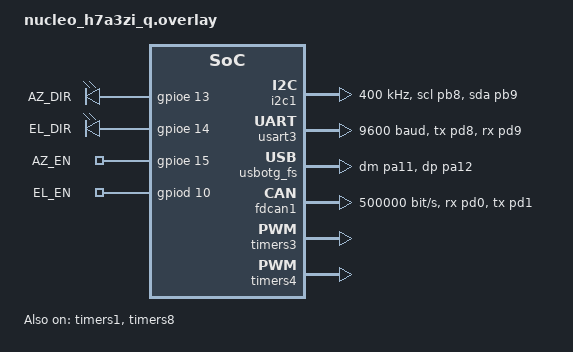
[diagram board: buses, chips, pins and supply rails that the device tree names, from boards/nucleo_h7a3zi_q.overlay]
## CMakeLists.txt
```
cmake_minimum_required(VERSION 3.20.0)

find_package(Zephyr REQUIRED HINTS $ENV{ZEPHYR_BASE})
project(antenna_tracker_uros_firmware)

FILE(GLOB app_sources
  src/main.c
  src/bmi270_driver.c
  src/mlx90393_driver.c
  src/gps_parser.c
  src/hall_encoder.c
  src/motor_driver.c
)

target_sources(app PRIVATE ${app_sources})
target_include_directories(app PRIVATE src)
```

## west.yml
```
manifest:
  remotes:
    - name: zephyrproject-rtos
      url-base: https://github.com/zephyrproject-rtos
    - name: micro-ROS
      url-base: https://github.com/micro-ROS

  projects:
    - name: zephyr
      remote: zephyrproject-rtos
      revision: v3.4.0
      import:
        name-allowlist:
          - cmsis
          - hal_stm32
          - picolibc

    - name: micro_ros_zephyr_module
      remote: micro-ROS
      revision: humble
      path: modules/micro_ros_zephyr_module
```

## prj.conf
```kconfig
# Zephyr Configuration for Antenna Tracker micro-ROS Firmware
# Target: STM32H7A3ZI-Q Nucleo

# System
CONFIG_HEAP_MEM_POOL_SIZE=32768
CONFIG_MAIN_STACK_SIZE=8192
CONFIG_SYSTEM_WORKQUEUE_STACK_SIZE=4096

# micro-ROS
CONFIG_MICRO_ROS=y
CONFIG_MICRO_ROS_TRANSPORT_USB_CDC=y

# USB CDC ACM
CONFIG_USB_DEVICE_STACK=y
CONFIG_USB_CDC_ACM=y
CONFIG_USB_DEVICE_PRODUCT="Antenna Tracker MCU"
CONFIG_USB_DEVICE_VID=0x0483
CONFIG_USB_DEVICE_PID=0x5740

# I2C (BMI270 + MLX90393)
CONFIG_I2C=y
CONFIG_I2C_STM32=y

# UART (NEO-6M GPS)
CONFIG_SERIAL=y
CONFIG_UART_INTERRUPT_DRIVEN=y

# Timer (Hall Encoder)
CONFIG_COUNTER=y
CONFIG_PWM=y

# CAN (ESP32 LoRa Bridge)
CONFIG_CAN=y
CONFIG_CAN_STM32FD=y

# GPIO (Motor DIR pins)
CONFIG_GPIO=y

# Floating Point
CONFIG_FPU=y
CONFIG_FPU_SHARING=y

# Logging
CONFIG_LOG=y
CONFIG_LOG_DEFAULT_LEVEL=3

# Shell (debug)
CONFIG_SHELL=n
```

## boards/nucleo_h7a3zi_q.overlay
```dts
/* Device Tree Overlay for STM32H7A3ZI-Q Nucleo */

/ {
	chosen {
		zephyr,console = &usart3;
	};
};

/* I2C1: BMI270 (0x68) + MLX90393 (0x0C) */
&i2c1 {
	status = "okay";
	clock-frequency = <I2C_BITRATE_FAST>;
	pinctrl-0 = <&i2c1_scl_pb8 &i2c1_sda_pb9>;
	pinctrl-names = "default";
};

/* USART3: NEO-6M GPS (9600 baud) */
&usart3 {
	status = "okay";
	current-speed = <9600>;
	pinctrl-0 = <&usart3_tx_pd8 &usart3_rx_pd9>;
	pinctrl-names = "default";
};

/* USB: micro-ROS CDC transport */
&usbotg_fs {
	status = "okay";
	pinctrl-0 = <&usb_otg_fs_dm_pa11 &usb_otg_fs_dp_pa12>;
	pinctrl-names = "default";
};

/* FDCAN1: ESP32 LoRa CAN bridge (500kbps) */
&fdcan1 {
	status = "okay";
	bus-speed = <500000>;
	pinctrl-0 = <&fdcan1_rx_pd0 &fdcan1_tx_pd1>;
	pinctrl-names = "default";
};

/* TIM1: Azimuth Hall Encoder (CH1=PE9, CH2=PE11) */
&timers1 {
	status = "okay";
	st,prescaler = <0>;

	encoder_az: encoder_az {
		compatible = "st,stm32-timer-counter";
		status = "okay";
	};
};

/* TIM8: Elevation Hall Encoder (CH1=PC6, CH2=PC7) */
&timers8 {
	status = "okay";
	st,prescaler = <0>;

	encoder_el: encoder_el {
		compatible = "st,stm32-timer-counter";
		status = "okay";
	};
};

/* Motor Control GPIOs */
/ {
	motor_pins {
		compatible = "gpio-leds";

		az_dir: az_dir {
			gpios = <&gpioe 13 GPIO_ACTIVE_HIGH>;
			label = "AZ_DIR";
		};

		el_dir: el_dir {
			gpios = <&gpioe 14 GPIO_ACTIVE_HIGH>;
			label = "EL_DIR";
		};

		az_en: az_en {
			gpios = <&gpioe 15 GPIO_ACTIVE_HIGH>;
			label = "AZ_EN";
		};

		el_en: el_en {
			gpios = <&gpiod 10 GPIO_ACTIVE_HIGH>;
			label = "EL_EN";
		};
	};
};

/* PWM for TB6600 step pulse */
&timers3 {
	status = "okay";
	st,prescaler = <279>;

	pwm_az: pwm {
		compatible = "st,stm32-pwm";
		status = "okay";
		#pwm-cells = <3>;
		pinctrl-0 = <&tim3_ch1_pa6>;
		pinctrl-names = "default";
	};
};

&timers4 {
	status = "okay";
	st,prescaler = <279>;

	pwm_el: pwm {
		compatible = "st,stm32-pwm";
		status = "okay";
		#pwm-cells = <3>;
		pinctrl-0 = <&tim4_ch1_pb6>;
		pinctrl-names = "default";
	};
};
```

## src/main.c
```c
#include <zephyr/kernel.h>
#include <zephyr/device.h>
#include <zephyr/drivers/i2c.h>
#include <zephyr/drivers/uart.h>
#include <zephyr/logging/log.h>

#include <rcl/rcl.h>
#include <rcl/error_handling.h>
#include <rclc/rclc.h>
#include <rclc/executor.h>

#include <sensor_msgs/msg/imu.h>
#include <sensor_msgs/msg/magnetic_field.h>
#include <sensor_msgs/msg/nav_sat_fix.h>
#include <antenna_tracker_msgs/msg/encoder_feedback.h>
#include <antenna_tracker_msgs/msg/motor_command.h>

#include <rmw_microros/rmw_microros.h>

#include "bmi270_driver.h"
#include "mlx90393_driver.h"
#include "gps_parser.h"
#include "hall_encoder.h"
#include "motor_driver.h"

LOG_MODULE_REGISTER(main, LOG_LEVEL_INF);

#define LOOP_PERIOD_MS  10   /* 100 Hz */
#define GPS_PERIOD_MS   1000 /* 1 Hz */

/* I2C device */
#define I2C_NODE DT_NODELABEL(i2c1)
static const struct device *i2c_dev;

/* GPS UART */
#define GPS_UART_NODE DT_NODELABEL(usart3)
static const struct device *gps_uart_dev;

/* Subsystem state */
static hall_encoder_t encoder;
static motor_driver_t motor;
static gps_parser_t gps;

/* micro-ROS entities */
static rcl_publisher_t pub_imu;
static rcl_publisher_t pub_mag;
static rcl_publisher_t pub_gps;
static rcl_publisher_t pub_encoder;
static rcl_subscription_t sub_motor_cmd;

static sensor_msgs__msg__Imu msg_imu;
static sensor_msgs__msg__MagneticField msg_mag;
static sensor_msgs__msg__NavSatFix msg_gps;
static antenna_tracker_msgs__msg__EncoderFeedback msg_encoder;
static antenna_tracker_msgs__msg__MotorCommand msg_motor_cmd;

static rclc_executor_t executor;
static rcl_allocator_t allocator;
static rclc_support_t support;
static rcl_node_t node;
static rcl_timer_t timer_100hz;
static rcl_timer_t timer_1hz;

/* Motor command callback */
static void motor_cmd_callback(const void *msgin)
{
    const antenna_tracker_msgs__msg__MotorCommand *cmd =
        (const antenna_tracker_msgs__msg__MotorCommand *)msgin;

    motor_driver_set_command(&motor,
                             (float)cmd->az_frequency_hz,
                             (float)cmd->el_frequency_hz,
                             cmd->az_direction,
                             cmd->el_direction,
                             cmd->emergency_stop);
}

/* 100Hz timer: IMU + Mag + Encoder */
static void timer_100hz_callback(rcl_timer_t *timer, int64_t last_call_time)
{
    (void)timer;
    (void)last_call_time;

    uint64_t now_ms = k_uptime_get();

    /* Read BMI270 */
    bmi270_data_t imu_data;
    if (bmi270_read(i2c_dev, &imu_data)) {
        msg_imu.header.stamp.sec = (int32_t)(now_ms / 1000);
        msg_imu.header.stamp.nanosec = (uint32_t)((now_ms % 1000) * 1000000);

        msg_imu.linear_acceleration.x = imu_data.accel_x;
        msg_imu.linear_acceleration.y = imu_data.accel_y;
        msg_imu.linear_acceleration.z = imu_data.accel_z;

        msg_imu.angular_velocity.x = imu_data.gyro_x * 0.017453292f; /* deg/s -> rad/s */
        msg_imu.angular_velocity.y = imu_data.gyro_y * 0.017453292f;
        msg_imu.angular_velocity.z = imu_data.gyro_z * 0.017453292f;

        rcl_publish(&pub_imu, &msg_imu, NULL);
    }

    /* Read MLX90393 */
    mlx90393_data_t mag_data;
    if (mlx90393_read(i2c_dev, &mag_data)) {
        msg_mag.header.stamp = msg_imu.header.stamp;

        msg_mag.magnetic_field.x = mag_data.x * 1e-6; /* uT -> T */
        msg_mag.magnetic_field.y = mag_data.y * 1e-6;
        msg_mag.magnetic_field.z = mag_data.z * 1e-6;

        rcl_publish(&pub_mag, &msg_mag, NULL);
    }

    /* Read Hall Encoders */
    hall_encoder_update(&encoder, now_ms);
    msg_encoder.header.stamp = msg_imu.header.stamp;
    msg_encoder.az_encoder_count = encoder.azimuth.count;
    msg_encoder.el_encoder_count = encoder.elevation.count;
    msg_encoder.az_angle_deg = encoder.azimuth.angle_deg;
    msg_encoder.el_angle_deg = encoder.elevation.angle_deg;
    msg_encoder.az_velocity_dps = encoder.azimuth.velocity_dps;
    msg_encoder.el_velocity_dps = encoder.elevation.velocity_dps;
    msg_encoder.az_valid = encoder.azimuth.valid;
    msg_encoder.el_valid = encoder.elevation.valid;

    rcl_publish(&pub_encoder, &msg_encoder, NULL);
}

/* GPS UART ISR callback */
static void gps_uart_cb(const struct device *dev, void *user_data)
{
    (void)user_data;
    uint8_t c;

    while (uart_fifo_read(dev, &c, 1) > 0) {
        gps_parser_feed_char(&gps, (char)c, k_uptime_get());
    }
}

/* 1Hz timer: GPS publish */
static void timer_1hz_callback(rcl_timer_t *timer, int64_t last_call_time)
{
    (void)timer;
    (void)last_call_time;

    if (gps_parser_has_fix(&gps)) {
        const gps_fix_t *fix = gps_parser_get_fix(&gps);
        uint64_t now_ms = k_uptime_get();

        msg_gps.header.stamp.sec = (int32_t)(now_ms / 1000);
        msg_gps.header.stamp.nanosec = (uint32_t)((now_ms % 1000) * 1000000);

        msg_gps.latitude = fix->latitude;
        msg_gps.longitude = fix->longitude;
        msg_gps.altitude = fix->altitude;
        msg_gps.status.status = (fix->fix_quality > 0) ? 0 : -1;
        msg_gps.status.service = 1; /* GPS */

        rcl_publish(&pub_gps, &msg_gps, NULL);
    }
}

void main(void)
{
    LOG_INF("Antenna Tracker micro-ROS Firmware starting...");

    /* Initialize I2C */
    i2c_dev = DEVICE_DT_GET(I2C_NODE);
    if (!device_is_ready(i2c_dev)) {
        LOG_ERR("I2C device not ready");
        return;
    }

    /* Initialize sensors */
    if (!bmi270_init(i2c_dev)) {
        LOG_ERR("BMI270 init failed");
    }
    if (!mlx90393_init(i2c_dev)) {
        LOG_ERR("MLX90393 init failed");
    }

    /* Initialize GPS UART */
    gps_parser_init(&gps);
    gps_uart_dev = DEVICE_DT_GET(GPS_UART_NODE);
    if (device_is_ready(gps_uart_dev)) {
        uart_irq_callback_set(gps_uart_dev, gps_uart_cb);
        uart_irq_rx_enable(gps_uart_dev);
        LOG_INF("GPS UART ready");
    } else {
        LOG_WRN("GPS UART not available");
    }

    /* Initialize encoders */
    hall_encoder_init(&encoder);

    /* Initialize motor driver */
    motor_driver_init(&motor);

    /* micro-ROS transport (USB CDC) */
    rmw_uros_set_custom_transport(
        true, NULL,
        NULL, NULL, NULL, NULL);

    allocator = rcl_get_default_allocator();

    /* Init support */
    rclc_support_init(&support, 0, NULL, &allocator);

    /* Create node */
    rclc_node_init_default(&node, "antenna_tracker_mcu", "", &support);

    /* Publishers */
    rclc_publisher_init_best_effort(
        &pub_imu, &node,
        ROSIDL_GET_MSG_TYPE_SUPPORT(sensor_msgs, msg, Imu),
        "/imu/raw");

    rclc_publisher_init_best_effort(
        &pub_mag, &node,
        ROSIDL_GET_MSG_TYPE_SUPPORT(sensor_msgs, msg, MagneticField),
        "/magnetic_field");

    rclc_publisher_init_best_effort(
        &pub_gps, &node,
        ROSIDL_GET_MSG_TYPE_SUPPORT(sensor_msgs, msg, NavSatFix),
        "/gps/fix");

    rclc_publisher_init_best_effort(
        &pub_encoder, &node,
        ROSIDL_GET_MSG_TYPE_SUPPORT(antenna_tracker_msgs, msg, EncoderFeedback),
        "/antenna/encoder_feedback");

    /* Subscriber */
    rclc_subscription_init_best_effort(
        &sub_motor_cmd, &node,
        ROSIDL_GET_MSG_TYPE_SUPPORT(antenna_tracker_msgs, msg, MotorCommand),
        "/antenna/motor_cmd");

    /* Timers */
    rclc_timer_init_default(&timer_100hz, &support, RCL_MS_TO_NS(LOOP_PERIOD_MS),
                            timer_100hz_callback);
    rclc_timer_init_default(&timer_1hz, &support, RCL_MS_TO_NS(GPS_PERIOD_MS),
                            timer_1hz_callback);

    /* Executor: 1 subscription + 2 timers */
    rclc_executor_init(&executor, &support.context, 3, &allocator);
    rclc_executor_add_subscription(&executor, &sub_motor_cmd, &msg_motor_cmd,
                                   &motor_cmd_callback, ON_NEW_DATA);
    rclc_executor_add_timer(&executor, &timer_100hz);
    rclc_executor_add_timer(&executor, &timer_1hz);

    LOG_INF("micro-ROS executor running");

    /* Spin forever */
    while (1) {
        rclc_executor_spin_some(&executor, RCL_MS_TO_NS(1));
        k_msleep(1);
    }
}
```

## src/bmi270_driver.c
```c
#include "bmi270_driver.h"
#include <zephyr/drivers/i2c.h>
#include <zephyr/logging/log.h>
#include <string.h>

LOG_MODULE_REGISTER(bmi270, LOG_LEVEL_INF);

/* Sensitivity: +/-8g range = 4096 LSB/g, +/-1000dps range = 32.768 LSB/dps */
#define ACCEL_SENSITIVITY  (9.80665f / 4096.0f)
#define GYRO_SENSITIVITY   (1.0f / 32.768f)

static int bmi270_reg_read(const struct device *dev, uint8_t reg, uint8_t *val, uint8_t len)
{
    return i2c_burst_read(dev, BMI270_I2C_ADDR, reg, val, len);
}

static int bmi270_reg_write(const struct device *dev, uint8_t reg, uint8_t val)
{
    return i2c_reg_write_byte(dev, BMI270_I2C_ADDR, reg, val);
}

bool bmi270_init(const struct device *i2c_dev)
{
    uint8_t chip_id = 0;

    if (bmi270_reg_read(i2c_dev, BMI270_CHIP_ID_REG, &chip_id, 1) != 0) {
        LOG_ERR("Failed to read BMI270 chip ID");
        return false;
    }

    if (chip_id != BMI270_CHIP_ID_VAL) {
        LOG_ERR("BMI270 chip ID mismatch: 0x%02x (expected 0x%02x)", chip_id, BMI270_CHIP_ID_VAL);
        return false;
    }

    LOG_INF("BMI270 detected (chip ID: 0x%02x)", chip_id);

    /* Soft reset */
    bmi270_reg_write(i2c_dev, BMI270_CMD_REG, 0xB6);
    k_msleep(10);

    /* Load config file (simplified - real implementation needs full init blob) */
    bmi270_reg_write(i2c_dev, BMI270_INIT_CTRL, 0x00);
    k_msleep(1);
    bmi270_reg_write(i2c_dev, BMI270_INIT_CTRL, 0x01);
    k_msleep(150);

    /* Accelerometer config: ODR=100Hz, OSR4, +/-8g */
    bmi270_reg_write(i2c_dev, BMI270_ACC_CONF, 0x28);
    bmi270_reg_write(i2c_dev, BMI270_ACC_RANGE, 0x02);

    /* Gyroscope config: ODR=100Hz, OSR4, +/-1000dps */
    bmi270_reg_write(i2c_dev, BMI270_GYR_CONF, 0x28);
    bmi270_reg_write(i2c_dev, BMI270_GYR_RANGE, 0x01);

    /* Power on accel + gyro */
    bmi270_reg_write(i2c_dev, BMI270_PWR_CTRL, 0x0E);
    k_msleep(50);

    LOG_INF("BMI270 initialized: 100Hz, +/-8g, +/-1000dps");
    return true;
}

bool bmi270_read(const struct device *i2c_dev, bmi270_data_t *data)
{
    uint8_t buf[12];

    if (bmi270_reg_read(i2c_dev, BMI270_ACC_X_LSB, buf, 6) != 0) {
        return false;
    }

    int16_t ax = (int16_t)(buf[1] << 8 | buf[0]);
    int16_t ay = (int16_t)(buf[3] << 8 | buf[2]);
    int16_t az = (int16_t)(buf[5] << 8 | buf[4]);

    if (bmi270_reg_read(i2c_dev, BMI270_GYR_X_LSB, buf, 6) != 0) {
        return false;
    }

    int16_t gx = (int16_t)(buf[1] << 8 | buf[0]);
    int16_t gy = (int16_t)(buf[3] << 8 | buf[2]);
    int16_t gz = (int16_t)(buf[5] << 8 | buf[4]);

    data->accel_x = ax * ACCEL_SENSITIVITY;
    data->accel_y = ay * ACCEL_SENSITIVITY;
    data->accel_z = az * ACCEL_SENSITIVITY;
    data->gyro_x = gx * GYRO_SENSITIVITY;
    data->gyro_y = gy * GYRO_SENSITIVITY;
    data->gyro_z = gz * GYRO_SENSITIVITY;

    return true;
}
```

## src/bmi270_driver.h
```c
#ifndef BMI270_DRIVER_H
#define BMI270_DRIVER_H

#include <zephyr/device.h>
#include <stdbool.h>

#define BMI270_I2C_ADDR 0x68

#define BMI270_CHIP_ID_REG    0x00
#define BMI270_CHIP_ID_VAL    0x24
#define BMI270_ACC_X_LSB      0x0C
#define BMI270_GYR_X_LSB      0x12
#define BMI270_CMD_REG        0x7E
#define BMI270_PWR_CTRL       0x7D
#define BMI270_ACC_CONF       0x40
#define BMI270_GYR_CONF       0x42
#define BMI270_ACC_RANGE      0x41
#define BMI270_GYR_RANGE      0x43
#define BMI270_INIT_CTRL      0x59
#define BMI270_INIT_DATA      0x5E

typedef struct {
    float accel_x;  /* m/s^2 */
    float accel_y;
    float accel_z;
    float gyro_x;   /* deg/s */
    float gyro_y;
    float gyro_z;
} bmi270_data_t;

bool bmi270_init(const struct device *i2c_dev);
bool bmi270_read(const struct device *i2c_dev, bmi270_data_t *data);

#endif /* BMI270_DRIVER_H */
```

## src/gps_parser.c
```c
#include "gps_parser.h"
#include <string.h>
#include <stdlib.h>

static double nmea_to_decimal(const char *raw, char direction)
{
    if (!raw || raw[0] == '\0') {
        return 0.0;
    }

    double value = atof(raw);
    int degrees = (int)(value / 100.0);
    double minutes = value - degrees * 100.0;
    double decimal = degrees + minutes / 60.0;

    if (direction == 'S' || direction == 'W') {
        decimal = -decimal;
    }

    return decimal;
}

static char *get_field(char *sentence, int field_num)
{
    int count = 0;
    char *p = sentence;

    while (*p && count < field_num) {
        if (*p == ',') {
            count++;
        }
        p++;
    }

    return p;
}

static void parse_gga(gps_parser_t *parser, char *sentence, uint64_t now_ms)
{
    /* $GPGGA,hhmmss.ss,lat,N/S,lon,E/W,quality,numSV,HDOP,alt,M,...*cs */
    char *lat_str = get_field(sentence, 2);
    char *lat_dir_str = get_field(sentence, 3);
    char *lon_str = get_field(sentence, 4);
    char *lon_dir_str = get_field(sentence, 5);
    char *quality_str = get_field(sentence, 6);
    char *num_sv_str = get_field(sentence, 7);
    char *hdop_str = get_field(sentence, 8);
    char *alt_str = get_field(sentence, 9);

    int quality = atoi(quality_str);

    if (quality > 0) {
        char lat_dir = lat_dir_str[0];
        char lon_dir = lon_dir_str[0];

        /* Null-terminate fields at commas */
        char *comma;
        comma = strchr(lat_str, ','); if (comma) *comma = '\0';
        comma = strchr(lon_str, ','); if (comma) *comma = '\0';
        comma = strchr(alt_str, ','); if (comma) *comma = '\0';
        comma = strchr(hdop_str, ','); if (comma) *comma = '\0';

        parser->fix.latitude = nmea_to_decimal(lat_str, lat_dir);
        parser->fix.longitude = nmea_to_decimal(lon_str, lon_dir);
        parser->fix.altitude = atof(alt_str);
        parser->fix.fix_quality = (uint8_t)quality;
        parser->fix.num_satellites = (uint8_t)atoi(num_sv_str);
        parser->fix.hdop = (float)atof(hdop_str);
        parser->fix.valid = true;
        parser->fix.last_fix_ms = now_ms;
    }
}

static bool verify_checksum(const char *sentence)
{
    if (sentence[0] != '$') {
        return false;
    }

    uint8_t checksum = 0;
    const char *p = sentence + 1;

    while (*p && *p != '*') {
        checksum ^= (uint8_t)*p;
        p++;
    }

    if (*p == '*') {
        uint8_t expected = (uint8_t)strtol(p + 1, NULL, 16);
        return checksum == expected;
    }

    return false;
}

void gps_parser_init(gps_parser_t *parser)
{
    memset(parser, 0, sizeof(gps_parser_t));
}

void gps_parser_feed_char(gps_parser_t *parser, char c, uint64_t now_ms)
{
    if (c == '$') {
        parser->index = 0;
        parser->receiving = true;
    }

    if (!parser->receiving) {
        return;
    }

    if (parser->index < NMEA_MAX_LEN - 1) {
        parser->buffer[parser->index++] = c;
    }

    if (c == '\n' || parser->index >= NMEA_MAX_LEN - 1) {
        parser->buffer[parser->index] = '\0';
        parser->receiving = false;

        if (verify_checksum(parser->buffer)) {
            if (strncmp(parser->buffer + 3, "GGA", 3) == 0) {
                parse_gga(parser, parser->buffer, now_ms);
            }
        }
    }
}

bool gps_parser_has_fix(const gps_parser_t *parser)
{
    return parser->fix.valid;
}

const gps_fix_t *gps_parser_get_fix(const gps_parser_t *parser)
{
    return &parser->fix;
}
```

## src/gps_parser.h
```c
#ifndef GPS_PARSER_H
#define GPS_PARSER_H

#include <stdbool.h>
#include <stdint.h>

#define NMEA_MAX_LEN 128

typedef struct {
    double latitude;
    double longitude;
    double altitude;
    uint8_t fix_quality;
    uint8_t num_satellites;
    float hdop;
    bool valid;
    uint64_t last_fix_ms;
} gps_fix_t;

typedef struct {
    char buffer[NMEA_MAX_LEN];
    uint8_t index;
    bool receiving;
    gps_fix_t fix;
} gps_parser_t;

void gps_parser_init(gps_parser_t *parser);
void gps_parser_feed_char(gps_parser_t *parser, char c, uint64_t now_ms);
bool gps_parser_has_fix(const gps_parser_t *parser);
const gps_fix_t *gps_parser_get_fix(const gps_parser_t *parser);

#endif /* GPS_PARSER_H */
```

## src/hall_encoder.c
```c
#include "hall_encoder.h"
#include <zephyr/drivers/counter.h>
#include <zephyr/logging/log.h>
#include <string.h>

LOG_MODULE_REGISTER(hall_encoder, LOG_LEVEL_INF);

/* Timer counter devices (TIM1 for azimuth, TIM8 for elevation) */
static const struct device *tim1_dev;
static const struct device *tim8_dev;

static int32_t read_timer_count(const struct device *dev)
{
    uint32_t ticks = 0;
    if (dev) {
        counter_get_value(dev, &ticks);
    }
    return (int32_t)ticks;
}

static void update_axis(encoder_state_t *axis, int32_t raw_count, uint64_t now_ms)
{
    axis->prev_count = axis->count;
    axis->count = raw_count;
    axis->angle_deg = (float)raw_count / COUNTS_PER_DEG;

    float dt = 0.0f;
    if (axis->last_read_ms > 0) {
        dt = (now_ms - axis->last_read_ms) / 1000.0f;
    }

    if (dt > 0.0f) {
        float delta_deg = (float)(axis->count - axis->prev_count) / COUNTS_PER_DEG;
        axis->velocity_dps = delta_deg / dt;
    }

    axis->last_read_ms = now_ms;
    axis->valid = true;
}

bool hall_encoder_init(hall_encoder_t *enc)
{
    memset(enc, 0, sizeof(hall_encoder_t));

    tim1_dev = DEVICE_DT_GET_OR_NULL(DT_NODELABEL(encoder_az));
    tim8_dev = DEVICE_DT_GET_OR_NULL(DT_NODELABEL(encoder_el));

    if (tim1_dev && device_is_ready(tim1_dev)) {
        counter_start(tim1_dev);
        LOG_INF("Azimuth encoder (TIM1) ready");
    } else {
        LOG_WRN("Azimuth encoder not available");
        tim1_dev = NULL;
    }

    if (tim8_dev && device_is_ready(tim8_dev)) {
        counter_start(tim8_dev);
        LOG_INF("Elevation encoder (TIM8) ready");
    } else {
        LOG_WRN("Elevation encoder not available");
        tim8_dev = NULL;
    }

    return (tim1_dev != NULL) || (tim8_dev != NULL);
}

void hall_encoder_update(hall_encoder_t *enc, uint64_t now_ms)
{
    if (tim1_dev) {
        int32_t az_count = read_timer_count(tim1_dev);
        update_axis(&enc->azimuth, az_count, now_ms);
    }

    if (tim8_dev) {
        int32_t el_count = read_timer_count(tim8_dev);
        update_axis(&enc->elevation, el_count, now_ms);
    }
}

void hall_encoder_reset(hall_encoder_t *enc)
{
    enc->azimuth.count = 0;
    enc->azimuth.prev_count = 0;
    enc->azimuth.angle_deg = 0.0f;
    enc->azimuth.velocity_dps = 0.0f;

    enc->elevation.count = 0;
    enc->elevation.prev_count = 0;
    enc->elevation.angle_deg = 0.0f;
    enc->elevation.velocity_dps = 0.0f;
}
```

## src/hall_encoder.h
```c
#ifndef HALL_ENCODER_H
#define HALL_ENCODER_H

#include <zephyr/device.h>
#include <stdbool.h>
#include <stdint.h>

/* Encoder resolution: Hall sensor quadrature */
#define ENCODER_COUNTS_PER_REV  (200 * 4)  /* 200 poles * 4x quadrature */
#define GEAR_RATIO              5.0f
#define COUNTS_PER_DEG          ((ENCODER_COUNTS_PER_REV * GEAR_RATIO) / 360.0f)

typedef struct {
    int32_t count;
    int32_t prev_count;
    float angle_deg;
    float velocity_dps;
    bool valid;
    uint64_t last_read_ms;
} encoder_state_t;

typedef struct {
    encoder_state_t azimuth;
    encoder_state_t elevation;
} hall_encoder_t;

bool hall_encoder_init(hall_encoder_t *enc);
void hall_encoder_update(hall_encoder_t *enc, uint64_t now_ms);
void hall_encoder_reset(hall_encoder_t *enc);

#endif /* HALL_ENCODER_H */
```

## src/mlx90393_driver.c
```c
#include "mlx90393_driver.h"
#include <zephyr/drivers/i2c.h>
#include <zephyr/logging/log.h>

LOG_MODULE_REGISTER(mlx90393, LOG_LEVEL_INF);

/* Sensitivity: default gain = 0.150 uT/LSB (HALLCONF=0x0C, gain_sel=7) */
#define MAG_SENSITIVITY 0.150f

static int mlx90393_cmd(const struct device *dev, uint8_t cmd, uint8_t *status)
{
    uint8_t tx = cmd;
    uint8_t rx = 0;

    int ret = i2c_write_read(dev, MLX90393_I2C_ADDR, &tx, 1, &rx, 1);
    if (status) {
        *status = rx;
    }
    return ret;
}

bool mlx90393_init(const struct device *i2c_dev)
{
    uint8_t status;

    /* Reset */
    if (mlx90393_cmd(i2c_dev, MLX90393_CMD_RT, &status) != 0) {
        LOG_ERR("MLX90393 reset failed");
        return false;
    }
    k_msleep(10);

    /* Exit any previous mode */
    mlx90393_cmd(i2c_dev, MLX90393_CMD_EX, &status);
    k_msleep(1);

    /* Start burst mode for X, Y, Z */
    uint8_t sb_cmd = MLX90393_CMD_SB | MLX90393_ZYXT_ALL;
    if (mlx90393_cmd(i2c_dev, sb_cmd, &status) != 0) {
        LOG_ERR("MLX90393 start burst failed");
        return false;
    }

    LOG_INF("MLX90393 initialized: burst mode XYZ");
    return true;
}

bool mlx90393_read(const struct device *i2c_dev, mlx90393_data_t *data)
{
    uint8_t tx = MLX90393_CMD_RM | MLX90393_ZYXT_ALL;
    uint8_t rx[7]; /* status + 3x int16 */

    if (i2c_write_read(i2c_dev, MLX90393_I2C_ADDR, &tx, 1, rx, 7) != 0) {
        return false;
    }

    int16_t raw_x = (int16_t)((rx[1] << 8) | rx[2]);
    int16_t raw_y = (int16_t)((rx[3] << 8) | rx[4]);
    int16_t raw_z = (int16_t)((rx[5] << 8) | rx[6]);

    data->x = raw_x * MAG_SENSITIVITY;
    data->y = raw_y * MAG_SENSITIVITY;
    data->z = raw_z * MAG_SENSITIVITY;

    return true;
}
```

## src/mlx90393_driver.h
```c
#ifndef MLX90393_DRIVER_H
#define MLX90393_DRIVER_H

#include <zephyr/device.h>
#include <stdbool.h>

#define MLX90393_I2C_ADDR 0x0C

/* Commands */
#define MLX90393_CMD_SB     0x10  /* Start burst mode */
#define MLX90393_CMD_SM     0x30  /* Start single measurement */
#define MLX90393_CMD_RM     0x40  /* Read measurement */
#define MLX90393_CMD_RT     0xF0  /* Reset */
#define MLX90393_CMD_EX     0x80  /* Exit mode */

/* Measurement flags */
#define MLX90393_ZYXT_ALL   0x0E  /* X + Y + Z */

typedef struct {
    float x;  /* uT */
    float y;
    float z;
} mlx90393_data_t;

bool mlx90393_init(const struct device *i2c_dev);
bool mlx90393_read(const struct device *i2c_dev, mlx90393_data_t *data);

#endif /* MLX90393_DRIVER_H */
```

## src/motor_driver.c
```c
#include "motor_driver.h"
#include <zephyr/drivers/pwm.h>
#include <zephyr/drivers/gpio.h>
#include <zephyr/logging/log.h>
#include <math.h>
#include <string.h>

LOG_MODULE_REGISTER(motor_driver, LOG_LEVEL_INF);

/* TB6600 stepper driver: PWM frequency = step frequency */
#define PWM_AZ_NODE  DT_NODELABEL(pwm_az)
#define PWM_EL_NODE  DT_NODELABEL(pwm_el)

static const struct pwm_dt_spec pwm_az = PWM_DT_SPEC_GET(DT_PATH(soc, timers3, pwm), 0);
static const struct pwm_dt_spec pwm_el = PWM_DT_SPEC_GET(DT_PATH(soc, timers4, pwm), 0);

static const struct gpio_dt_spec az_dir_gpio = GPIO_DT_SPEC_GET(DT_NODELABEL(az_dir), gpios);
static const struct gpio_dt_spec el_dir_gpio = GPIO_DT_SPEC_GET(DT_NODELABEL(el_dir), gpios);
static const struct gpio_dt_spec az_en_gpio  = GPIO_DT_SPEC_GET(DT_NODELABEL(az_en), gpios);
static const struct gpio_dt_spec el_en_gpio  = GPIO_DT_SPEC_GET(DT_NODELABEL(el_en), gpios);

static void set_axis_pwm(const struct pwm_dt_spec *pwm, float freq_hz)
{
    float abs_freq = fabsf(freq_hz);

    if (abs_freq < 1.0f) {
        pwm_set_pulse_dt(pwm, 0);
        return;
    }

    /* Period in nsec */
    uint32_t period_ns = (uint32_t)(1e9f / abs_freq);
    uint32_t pulse_ns = period_ns / 2; /* 50% duty cycle */

    pwm_set_dt(pwm, period_ns, pulse_ns);
}

bool motor_driver_init(motor_driver_t *drv)
{
    memset(drv, 0, sizeof(motor_driver_t));

    /* Configure direction GPIOs */
    if (gpio_is_ready_dt(&az_dir_gpio)) {
        gpio_pin_configure_dt(&az_dir_gpio, GPIO_OUTPUT_INACTIVE);
    }
    if (gpio_is_ready_dt(&el_dir_gpio)) {
        gpio_pin_configure_dt(&el_dir_gpio, GPIO_OUTPUT_INACTIVE);
    }
    if (gpio_is_ready_dt(&az_en_gpio)) {
        gpio_pin_configure_dt(&az_en_gpio, GPIO_OUTPUT_INACTIVE);
    }
    if (gpio_is_ready_dt(&el_en_gpio)) {
        gpio_pin_configure_dt(&el_en_gpio, GPIO_OUTPUT_INACTIVE);
    }

    LOG_INF("Motor driver initialized (TB6600 x2)");
    return true;
}

void motor_driver_set_command(motor_driver_t *drv, float az_freq_hz, float el_freq_hz,
                              bool az_dir, bool el_dir, bool estop)
{
    drv->emergency_stop = estop;

    if (estop) {
        motor_driver_stop(drv);
        return;
    }

    /* Enable motors */
    gpio_pin_set_dt(&az_en_gpio, 1);
    gpio_pin_set_dt(&el_en_gpio, 1);

    /* Set direction */
    gpio_pin_set_dt(&az_dir_gpio, az_dir ? 1 : 0);
    gpio_pin_set_dt(&el_dir_gpio, el_dir ? 1 : 0);

    /* Set PWM frequency */
    set_axis_pwm(&pwm_az, az_freq_hz);
    set_axis_pwm(&pwm_el, el_freq_hz);
}

void motor_driver_stop(motor_driver_t *drv)
{
    (void)drv;

    set_axis_pwm(&pwm_az, 0.0f);
    set_axis_pwm(&pwm_el, 0.0f);

    gpio_pin_set_dt(&az_en_gpio, 0);
    gpio_pin_set_dt(&el_en_gpio, 0);
}
```

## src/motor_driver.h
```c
#ifndef MOTOR_DRIVER_H
#define MOTOR_DRIVER_H

#include <zephyr/device.h>
#include <stdbool.h>

typedef struct {
    const struct device *pwm_dev;
    const struct device *dir_gpio;
    uint32_t dir_pin;
    const struct device *en_gpio;
    uint32_t en_pin;
    uint32_t pwm_channel;
    bool enabled;
} motor_axis_t;

typedef struct {
    motor_axis_t azimuth;
    motor_axis_t elevation;
    bool emergency_stop;
} motor_driver_t;

bool motor_driver_init(motor_driver_t *drv);
void motor_driver_set_command(motor_driver_t *drv, float az_freq_hz, float el_freq_hz,
                              bool az_dir, bool el_dir, bool estop);
void motor_driver_stop(motor_driver_t *drv);

#endif /* MOTOR_DRIVER_H */
```
